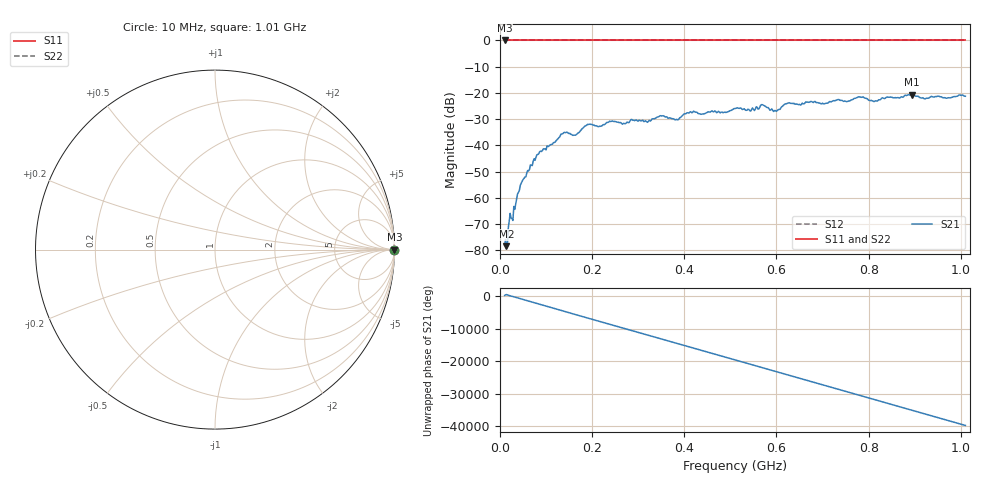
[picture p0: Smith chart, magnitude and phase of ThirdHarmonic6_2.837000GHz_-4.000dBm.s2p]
! 8/17/2025 7:35:50 AM
! C:\ANRITSUVNA\TEMP\TEMP.S2P
! CHANNEL.1
! TR.MEASUREMENT
! RAW.DATA
! RF.CORRECTION.OFF
! AVERAGING.OFF
! IF.BANDWIDTH: 5KHZ
! SWEEPTYPE:  FREQ.SWEEP(Linear)
! Reference Plane Port Info
! PORT:  PORT1  PORT2
! DISTANCE:  0  m  0  m
! TIME:  0  s  0  s
! PHASE.OFFSET:  0  deg.  0  deg.
! LOSS:  0  dB  0  dB
! REF.LOSS:  0  dB  0  dB
! REF.FREQ:  0  Hz  0  Hz
! Power Info
! POWER:  -20  dBm  -20  dBm
! EFF.POWER:  -20  dBm  -20  dBm
! SOURCE.ATTEN:  0  dB  0  dB
! TEST.ATTEN:  0  dB  0  dB
# GHZ S RI R 50.0
! FREQ.GHZ  S11RE  S11IM  S21RE  S21IM  S12RE  S12IM  S22RE  S22IM
!; PortSelection: Port_12
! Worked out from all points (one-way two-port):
!   501 points, 10 MHz to 1.01 GHz, reference 50 ohm
!   highest |S21| = -20.68 dB at 894 MHz (marker M1); lowest = -78.5 dB at 14 MHz (marker M2)
!   lowest |S11| = 0.0 dB at 10 MHz (marker M3)
!   |S11| at or under -10 dB: nowhere
!   |S22| runs from 0.0 to 0.0 dB; largest |S21 - S12| = 1.1
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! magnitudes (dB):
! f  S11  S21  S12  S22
! 10 MHz  0.0  -78.1  0.0  0.0
! 14 MHz  0.0  -78.5  0.0  0.0
! 22 MHz  0.0  -66.0  0.0  0.0
! 30 MHz  0.0  -63.3  0.0  0.0
! 42 MHz  0.0  -57.2  0.0  0.0
! 76 MHz  0.0  -45.7  0.0  0.0
! 136 MHz  0.0  -35.6  0.0  0.0
! 162 MHz  0.0  -36.1  0.0  0.0
! 178 MHz  0.0  -33.7  0.0  0.0
! 194 MHz  0.0  -31.9  0.0  0.0
! 322 MHz  0.0  -30.9  0.0  0.0
! 344 MHz  0.0  -29.1  0.0  0.0
! 384 MHz  0.0  -30.1  0.0  0.0
! 410 MHz  0.0  -27.7  0.0  0.0
! 510 MHz  0.0  -25.9  0.0  0.0
! 570 MHz  0.0  -24.5  0.0  0.0
! 598 MHz  0.0  -26.8  0.0  0.0
! 624 MHz  0.0  -23.9  0.0  0.0
! 678 MHz  0.0  -23.5  0.0  0.0
! 844 MHz  0.0  -21.7  0.0  0.0
! 894 MHz  0.0  -20.7  0.0  0.0
! 1.01 GHz  0.0  -21.3  0.0  0.0
